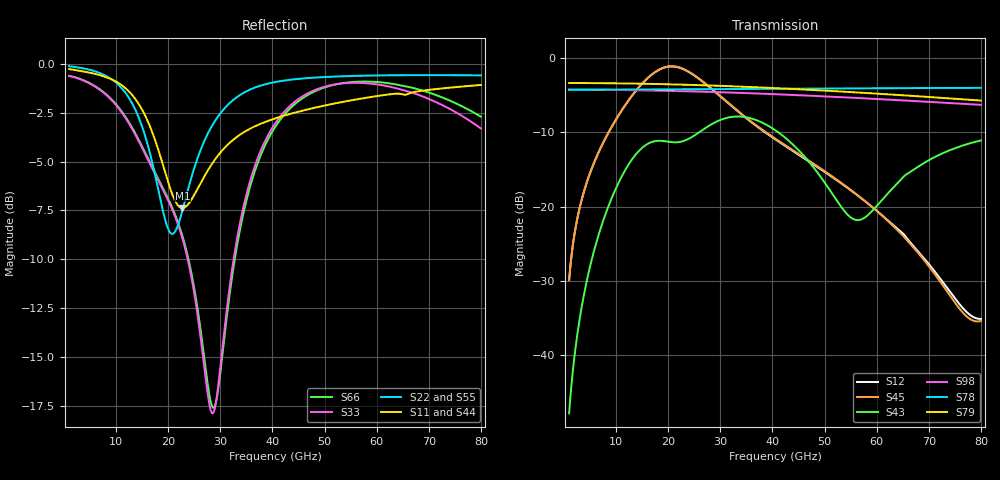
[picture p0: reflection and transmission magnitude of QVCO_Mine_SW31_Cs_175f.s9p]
! Touchstone Ver. 1.0
! Number of ports is 9
# Hz	S	RI	R	50.000000
! SCATTERING PARAMETERS  :
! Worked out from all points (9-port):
!   1001 points, 1 GHz to 80 GHz, reference 50 ohm
!   strongest paths, dB at 1 GHz, 20.75 GHz, 40.5 GHz, 60.25 GHz, 80 GHz:
!     S79: -3.4, -3.6, -4.1, -4.8, -5.8
!     S78: -4.3, -4.2, -4.2, -4.1, -4.0
!     S98: -4.3, -4.4, -4.9, -5.5, -6.3
!     S43: -47.8, -11.3, -9.7, -19.7, -11.1
!     S45: -29.9, -1.1, -10.8, -20.7, -35.4
!     S12: -29.9, -1.2, -10.9, -20.7, -35.1
!   lowest |S11| = -7.4 dB at 22.73 GHz (marker M1), VSWR 2.49, Z = 38.8 + j40.1 ohm
!   |S11| at or under -10 dB: nowhere
